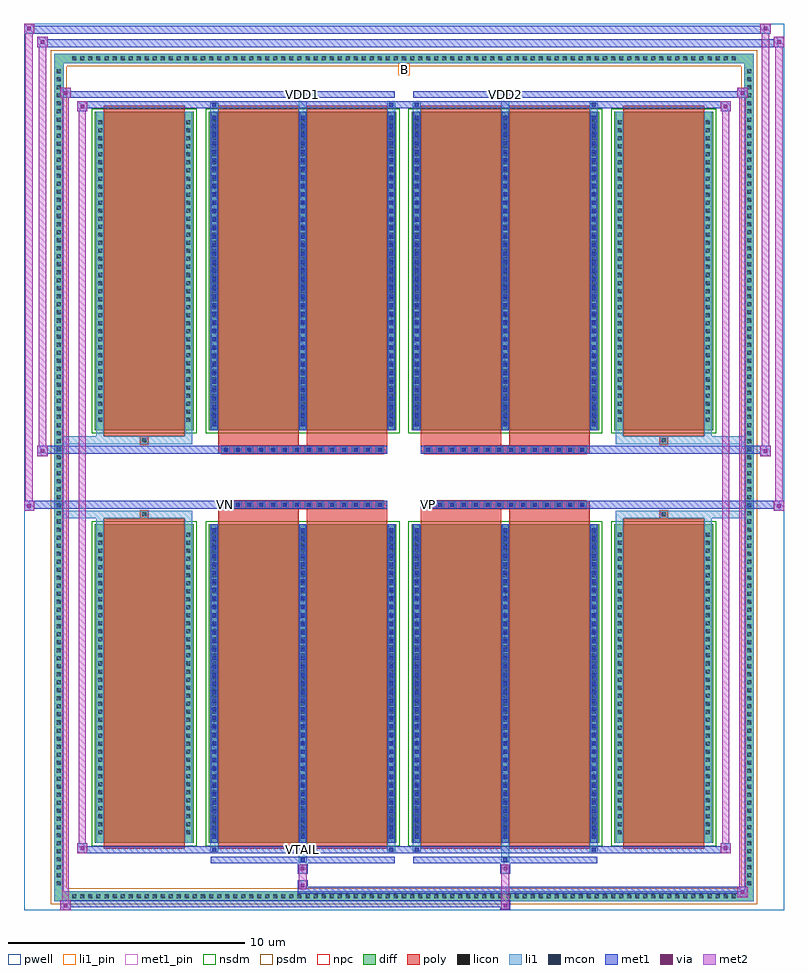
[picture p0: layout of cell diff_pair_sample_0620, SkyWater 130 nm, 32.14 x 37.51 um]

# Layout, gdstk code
import gdstk
lib = gdstk.Library(unit=1e-6, precision=5e-09)
def R(c, l, rs):  # rectangles x0, y0, x1, y1
    for r in rs: c.add(gdstk.rectangle(r[:2], r[2:], *l))
def A(c, l, x, y, w, h, nx, ny, dx, dy):  # array of equal rectangles
    R(c, l, [(x+i*dx, y+j*dy, x+i*dx+w, y+j*dy+h) for i in range(nx) for j in range(ny)])
def P(c, l, *ps):  # polygons
    for p in ps: c.add(gdstk.Polygon(p, *l))
pwell = (64, 44)
diff = (65, 20)
poly = (66, 20)
licon = (66, 44)
li1_pin = (67, 16)
li1 = (67, 20)
mcon = (67, 44)
met1_pin = (68, 16)
met1 = (68, 20)
via = (68, 44)
met2 = (69, 20)
nsdm = (93, 44)
psdm = (94, 20)
npc = (95, 20)

diff_pair_sample_0620 = lib.new_cell('diff_pair_sample_0620')
R(diff_pair_sample_0620, pwell, [(-16.07,-18.32,16.07,19.19), (-13.39,-16.51,-0.01,-0.795), (0.01,-16.51,13.39,-0.795), (-13.39,0.795,-0.01,16.51), (0.01,0.795,13.39,16.51)])
A(diff_pair_sample_0620, diff, -14.145, -17.92, 0.41, 0.41, 83, 2, 0.34, 35.43)
A(diff_pair_sample_0620, diff, -14.8, -17.375, 0.41, 0.41, 1, 102, 0, 0.34)
A(diff_pair_sample_0620, diff, 14.39, -17.375, 0.41, 0.41, 1, 102, 0, 0.34)
R(diff_pair_sample_0620, diff, [(-14.145,-17.92,14.145,-17.51), (-14.8,-17.375,-14.39,17.375), (14.39,-17.375,14.8,17.375), (-13.08,-15.465,-8.89,-1.985), (-8.25,-15.465,-0.32,-1.985), (0.32,-15.465,8.25,-1.985), (8.89,-15.465,13.08,-1.985), (-13.08,1.985,-8.89,15.465), (-8.25,1.985,-0.32,15.465), (0.32,1.985,8.25,15.465), (8.89,1.985,13.08,15.465), (-14.145,17.51,14.145,17.92)])
P(diff_pair_sample_0620, diff, [(14.8,17.92),(-14.8,17.92),(-14.8,-17.51),(-14.39,-17.51),(-14.39,17.51),(14.39,17.51),(14.39,-17.51),(-14.39,-17.51),(-14.8,-17.51),(-14.8,-17.92),(14.8,-17.92)])
A(diff_pair_sample_0620, poly, -7.7, -1.325, 0.33, 0.33, 14, 2, 0.5, 2.32)
A(diff_pair_sample_0620, poly, 0.87, -1.325, 0.33, 0.33, 14, 2, 0.5, 2.32)
R(diff_pair_sample_0620, poly, [(-12.69,-15.715,-9.28,-1.735), (-7.86,-15.715,-4.45,-1.735), (-4.12,-15.715,-0.71,-1.735), (0.71,-15.715,4.12,-1.735), (4.45,-15.715,7.86,-1.735), (9.28,-15.715,12.69,-1.735), (-11.15,-1.735,-10.82,-1.405), (-11.15,-1.735,-10.82,-1.405), (-7.86,-1.735,-4.45,-1.325), (-4.12,-1.735,-0.71,-1.325), (0.71,-1.735,4.12,-1.325), (4.45,-1.735,7.86,-1.325), (10.82,-1.735,11.15,-1.405), (10.82,-1.735,11.15,-1.405), (-7.86,-1.325,-0.71,-0.995), (0.71,-1.325,7.86,-0.995), (-7.86,0.995,-0.71,1.325), (0.71,0.995,7.86,1.325), (-7.86,1.325,-4.45,1.735), (-4.12,1.325,-0.71,1.735), (0.71,1.325,4.12,1.735), (4.45,1.325,7.86,1.735), (-11.15,1.405,-10.82,1.735), (-11.15,1.405,-10.82,1.735), (10.82,1.405,11.15,1.735), (10.82,1.405,11.15,1.735), (-12.69,1.735,-9.28,15.715), (-7.86,1.735,-4.45,15.715), (-4.12,1.735,-0.71,15.715), (0.71,1.735,4.12,15.715), (4.45,1.735,7.86,15.715), (9.28,1.735,12.69,15.715)])
A(diff_pair_sample_0620, licon, -14.025, -17.8, 0.17, 0.17, 83, 2, 0.34, 35.43)
A(diff_pair_sample_0620, licon, -14.68, -17.255, 0.17, 0.17, 1, 102, 0, 0.34)
A(diff_pair_sample_0620, licon, 14.51, -17.255, 0.17, 0.17, 1, 102, 0, 0.34)
A(diff_pair_sample_0620, licon, -12.94, -15.1, 0.17, 0.17, 1, 38, 0, 0.34)
A(diff_pair_sample_0620, licon, -9.2, -15.1, 0.17, 0.17, 1, 38, 0, 0.34)
A(diff_pair_sample_0620, licon, -8.11, -15.1, 0.17, 0.17, 3, 38, 3.74, 0.34)
A(diff_pair_sample_0620, licon, 0.46, -15.1, 0.17, 0.17, 3, 38, 3.74, 0.34)
A(diff_pair_sample_0620, licon, 9.03, -15.1, 0.17, 0.17, 1, 38, 0, 0.34)
A(diff_pair_sample_0620, licon, 12.77, -15.1, 0.17, 0.17, 1, 38, 0, 0.34)
A(diff_pair_sample_0620, licon, -7.62, -1.245, 0.17, 0.17, 14, 2, 0.5, 2.32)
A(diff_pair_sample_0620, licon, 0.95, -1.245, 0.17, 0.17, 14, 2, 0.5, 2.32)
A(diff_pair_sample_0620, licon, -12.94, 2.35, 0.17, 0.17, 1, 38, 0, 0.34)
A(diff_pair_sample_0620, licon, -9.2, 2.35, 0.17, 0.17, 1, 38, 0, 0.34)
A(diff_pair_sample_0620, licon, -8.11, 2.35, 0.17, 0.17, 3, 38, 3.74, 0.34)
A(diff_pair_sample_0620, licon, 0.46, 2.35, 0.17, 0.17, 3, 38, 3.74, 0.34)
A(diff_pair_sample_0620, licon, 9.03, 2.35, 0.17, 0.17, 1, 38, 0, 0.34)
A(diff_pair_sample_0620, licon, 12.77, 2.35, 0.17, 0.17, 1, 38, 0, 0.34)
R(diff_pair_sample_0620, licon, [(-11.07,-1.655,-10.9,-1.485), (10.9,-1.655,11.07,-1.485), (-11.07,1.485,-10.9,1.655), (10.9,1.485,11.07,1.655)])
R(diff_pair_sample_0620, li1_pin, [(-0.25,17.01,0.25,17.51)])
A(diff_pair_sample_0620, li1, -14.105, -17.88, 0.33, 0.33, 83, 2, 0.34, 35.43)
A(diff_pair_sample_0620, li1, -14.76, -17.335, 0.33, 0.33, 1, 102, 0, 0.34)
A(diff_pair_sample_0620, li1, 14.43, -17.335, 0.33, 0.33, 1, 102, 0, 0.34)
A(diff_pair_sample_0620, li1, -8.19, -15.465, 0.33, 13.48, 3, 2, 3.74, 17.45)
A(diff_pair_sample_0620, li1, 0.38, -15.465, 0.33, 13.48, 3, 2, 3.74, 17.45)
A(diff_pair_sample_0620, li1, -8.11, -15.29, 0.17, 0.17, 3, 37, 3.74, 0.36)
A(diff_pair_sample_0620, li1, -8.11, -15.29, 0.17, 13.13, 3, 2, 3.74, 17.45)
A(diff_pair_sample_0620, li1, 0.46, -15.29, 0.17, 0.17, 3, 37, 3.74, 0.36)
A(diff_pair_sample_0620, li1, 0.46, -15.29, 0.17, 13.13, 3, 2, 3.74, 17.45)
A(diff_pair_sample_0620, li1, -13.02, -15.18, 0.33, 0.33, 1, 38, 0, 0.34)
A(diff_pair_sample_0620, li1, -9.28, -15.18, 0.33, 0.33, 1, 38, 0, 0.34)
A(diff_pair_sample_0620, li1, -8.19, -15.18, 0.33, 0.33, 3, 38, 3.74, 0.34)
A(diff_pair_sample_0620, li1, 0.38, -15.18, 0.33, 0.33, 3, 38, 3.74, 0.34)
A(diff_pair_sample_0620, li1, 8.95, -15.18, 0.33, 0.33, 1, 38, 0, 0.34)
A(diff_pair_sample_0620, li1, 12.69, -15.18, 0.33, 0.33, 1, 38, 0, 0.34)
A(diff_pair_sample_0620, li1, -7.7, -1.325, 0.33, 0.33, 14, 2, 0.5, 2.32)
A(diff_pair_sample_0620, li1, 0.87, -1.325, 0.33, 0.33, 14, 2, 0.5, 2.32)
A(diff_pair_sample_0620, li1, -8.11, 2.16, 0.17, 0.17, 3, 37, 3.74, 0.36)
A(diff_pair_sample_0620, li1, 0.46, 2.16, 0.17, 0.17, 3, 37, 3.74, 0.36)
A(diff_pair_sample_0620, li1, -13.02, 2.27, 0.33, 0.33, 1, 38, 0, 0.34)
A(diff_pair_sample_0620, li1, -9.28, 2.27, 0.33, 0.33, 1, 38, 0, 0.34)
A(diff_pair_sample_0620, li1, -8.19, 2.27, 0.33, 0.33, 3, 38, 3.74, 0.34)
A(diff_pair_sample_0620, li1, 0.38, 2.27, 0.33, 0.33, 3, 38, 3.74, 0.34)
A(diff_pair_sample_0620, li1, 8.95, 2.27, 0.33, 0.33, 1, 38, 0, 0.34)
A(diff_pair_sample_0620, li1, 12.69, 2.27, 0.33, 0.33, 1, 38, 0, 0.34)
R(diff_pair_sample_0620, li1, [(-14.8,-17.92,-14.39,-17.51), (-14.8,-17.92,-14.39,-17.51), (-14.39,-17.92,14.39,-17.51), (14.39,-17.92,14.8,-17.51), (14.39,-17.92,14.8,-17.51), (-14.8,-17.51,-14.39,17.51), (14.39,-17.51,14.8,17.51), (-4.45,-16.27,-4.12,-15.465), (-4.37,-16.27,-4.2,-16.1), (4.12,-16.27,4.45,-15.465), (4.2,-16.27,4.37,-16.1), (-8.19,-15.84,-7.86,-15.465), (-8.11,-15.84,-7.94,-15.67), (-0.71,-15.84,-0.38,-15.465), (-0.63,-15.84,-0.46,-15.67), (0.38,-15.84,0.71,-15.465), (0.46,-15.84,0.63,-15.67), (7.86,-15.84,8.19,-15.465), (7.94,-15.84,8.11,-15.67), (-13.02,-15.465,-12.69,-1.985), (-9.28,-15.465,-8.95,-1.985), (8.95,-15.465,9.28,-1.985), (12.69,-15.465,13.02,-1.985), (-13.02,-1.985,-12.69,-1.405), (-9.28,-1.985,-8.95,-1.405), (8.95,-1.985,9.28,-1.405), (12.69,-1.985,13.02,-1.405), (-14.8,-1.735,-11.15,-1.405), (-13.02,-1.735,-11.15,-1.405), (-11.15,-1.735,-10.82,-1.405), (-10.82,-1.735,-8.95,-1.405), (8.95,-1.735,10.82,-1.405), (10.82,-1.735,11.15,-1.405), (10.82,-1.735,14.8,-1.405), (11.15,-1.735,13.02,-1.405), (-14.8,1.405,-11.15,1.735), (-13.02,1.405,-11.15,1.735), (-13.02,1.405,-12.69,1.985), (-11.15,1.405,-10.82,1.735), (-10.82,1.405,-8.95,1.735), (-9.28,1.405,-8.95,1.985), (8.95,1.405,10.82,1.735), (8.95,1.405,9.28,1.985), (10.82,1.405,11.15,1.735), (10.82,1.405,14.8,1.735), (11.15,1.405,13.02,1.735), (12.69,1.405,13.02,1.985), (-13.02,1.985,-12.69,15.465), (-9.28,1.985,-8.95,15.465), (8.95,1.985,9.28,15.465), (12.69,1.985,13.02,15.465), (-8.19,15.465,-7.86,15.84), (-4.45,15.465,-4.12,16.27), (-0.71,15.465,-0.38,15.84), (0.38,15.465,0.71,15.84), (4.12,15.465,4.45,16.27), (7.86,15.465,8.19,15.84), (-8.11,15.67,-7.94,15.84), (-0.63,15.67,-0.46,15.84), (0.46,15.67,0.63,15.84), (7.94,15.67,8.11,15.84), (-4.37,16.1,-4.2,16.27), (4.2,16.1,4.37,16.27), (-14.8,17.51,-14.39,17.92), (-14.8,17.51,-14.39,17.92), (-14.39,17.51,14.39,17.92), (14.39,17.51,14.8,17.92), (14.39,17.51,14.8,17.92)])
A(diff_pair_sample_0620, mcon, -8.11, -15.29, 0.17, 0.17, 3, 37, 3.74, 0.36)
A(diff_pair_sample_0620, mcon, 0.46, -15.29, 0.17, 0.17, 3, 37, 3.74, 0.36)
A(diff_pair_sample_0620, mcon, -7.62, -1.245, 0.17, 0.17, 14, 2, 0.5, 2.32)
A(diff_pair_sample_0620, mcon, 0.95, -1.245, 0.17, 0.17, 14, 2, 0.5, 2.32)
A(diff_pair_sample_0620, mcon, -8.11, 2.16, 0.17, 0.17, 3, 37, 3.74, 0.36)
A(diff_pair_sample_0620, mcon, 0.46, 2.16, 0.17, 0.17, 3, 37, 3.74, 0.36)
R(diff_pair_sample_0620, mcon, [(-4.37,-16.27,-4.2,-16.1), (4.2,-16.27,4.37,-16.1), (-8.11,-15.84,-7.94,-15.67), (-0.63,-15.84,-0.46,-15.67), (0.46,-15.84,0.63,-15.67), (7.94,-15.84,8.11,-15.67), (-8.11,15.67,-7.94,15.84), (-0.63,15.67,-0.46,15.84), (0.46,15.67,0.63,15.84), (7.94,15.67,8.11,15.84), (-4.37,16.1,-4.2,16.27), (4.2,16.1,4.37,16.27)])
R(diff_pair_sample_0620, met1_pin, [(-4.42,-15.88,-4.15,-15.61), (-7.67,-1.285,-7.4,-1.015), (0.9,-1.285,1.17,-1.015), (-4.42,16.06,-4.15,16.33), (4.15,16.06,4.42,16.33)])
A(diff_pair_sample_0620, met1, -8.17, -15.465, 0.29, 13.48, 3, 2, 3.74, 17.45)
A(diff_pair_sample_0620, met1, 0.4, -15.465, 0.29, 13.48, 3, 2, 3.74, 17.45)
A(diff_pair_sample_0620, met1, -8.17, -15.35, 0.29, 0.29, 3, 37, 3.74, 0.36)
A(diff_pair_sample_0620, met1, 0.4, -15.35, 0.29, 0.29, 3, 37, 3.74, 0.36)
A(diff_pair_sample_0620, met1, -7.68, -1.305, 0.29, 0.29, 14, 2, 0.5, 2.32)
A(diff_pair_sample_0620, met1, 0.89, -1.305, 0.29, 0.29, 14, 2, 0.5, 2.32)
A(diff_pair_sample_0620, met1, -8.17, 2.1, 0.29, 0.29, 3, 37, 3.74, 0.36)
A(diff_pair_sample_0620, met1, 0.4, 2.1, 0.29, 0.29, 3, 37, 3.74, 0.36)
R(diff_pair_sample_0620, met1, [(-14.53,-18.32,-14.1,-17.89), (4.07,-18.32,4.5,-17.89), (-14.53,-18.18,4.5,-17.89), (14.1,-17.75,14.53,-17.32), (-4.5,-17.61,14.53,-17.32), (-4.5,-17.47,-4.07,-17.04), (-4.5,-16.76,-4.07,-16.33), (4.07,-16.76,4.5,-16.33), (-8.17,-16.33,-0.4,-16.04), (-4.43,-16.33,-4.14,-16.04), (0.4,-16.33,8.17,-16.04), (4.14,-16.33,4.43,-16.04), (-13.82,-15.9,-13.39,-15.47), (-13.82,-15.9,-8.17,-15.61), (-8.17,-15.9,-7.88,-15.61), (-8.17,-15.9,-0.4,-15.61), (-0.69,-15.9,-0.4,-15.61), (-0.4,-15.9,0.4,-15.61), (0.4,-15.9,0.69,-15.61), (0.4,-15.9,8.17,-15.61), (7.88,-15.9,8.17,-15.61), (8.17,-15.9,13.82,-15.61), (13.39,-15.9,13.82,-15.47), (-16.07,-1.425,-15.64,-0.995), (15.64,-1.425,16.07,-0.995), (-16.07,-1.325,-0.71,-0.995), (-7.86,-1.325,-0.71,-0.995), (0.71,-1.325,7.86,-0.995), (0.71,-1.325,16.07,-0.995), (-15.5,0.895,-15.07,1.325), (15.07,0.895,15.5,1.325), (-15.5,0.995,-7.86,1.325), (-7.86,0.995,-0.71,1.325), (0.71,0.995,7.86,1.325), (7.86,0.995,15.5,1.325), (-13.82,15.47,-13.39,15.9), (13.39,15.47,13.82,15.9), (-13.82,15.61,-8.17,15.9), (-8.17,15.61,-7.88,15.9), (-8.17,15.61,-0.4,15.9), (-0.69,15.61,-0.4,15.9), (-0.4,15.61,0.4,15.9), (0.4,15.61,0.69,15.9), (0.4,15.61,8.17,15.9), (7.88,15.61,8.17,15.9), (8.17,15.61,13.82,15.9), (-14.53,16.04,-14.1,16.47), (-14.53,16.04,-8.17,16.33), (-8.17,16.04,-0.4,16.33), (-4.43,16.04,-4.14,16.33), (0.4,16.04,8.17,16.33), (4.14,16.04,4.43,16.33), (8.17,16.04,14.53,16.33), (14.1,16.04,14.53,16.47), (-15.5,18.19,-15.07,18.62), (-15.5,18.19,-13.39,18.52), (-13.39,18.19,13.39,18.52), (13.39,18.19,16.07,18.52), (15.64,18.19,16.07,18.62), (-16.07,18.76,-15.64,19.19), (-16.07,18.76,-13.39,19.09), (-13.39,18.76,13.39,19.09), (13.39,18.76,15.5,19.09), (15.07,18.76,15.5,19.19)])
R(diff_pair_sample_0620, via, [(-14.39,-18.18,-14.24,-18.03), (4.21,-18.18,4.36,-18.03), (14.24,-17.61,14.39,-17.46), (-4.36,-17.33,-4.21,-17.18), (-4.36,-16.62,-4.21,-16.47), (4.21,-16.62,4.36,-16.47), (-13.68,-15.76,-13.53,-15.61), (13.53,-15.76,13.68,-15.61), (-15.93,-1.285,-15.78,-1.135), (15.78,-1.285,15.93,-1.135), (-15.36,1.035,-15.21,1.185), (15.21,1.035,15.36,1.185), (-13.68,15.61,-13.53,15.76), (13.53,15.61,13.68,15.76), (-14.39,16.18,-14.24,16.33), (14.24,16.18,14.39,16.33), (-15.36,18.33,-15.21,18.48), (15.78,18.33,15.93,18.48), (-15.93,18.9,-15.78,19.05), (15.21,18.9,15.36,19.05)])
R(diff_pair_sample_0620, met2, [(-14.53,-18.32,-14.1,-17.89), (-14.46,-18.32,-14.17,16.47), (-14.17,-18.32,-14.1,-17.89), (-14.48,-18.27,-14.15,-17.94), (4.12,-18.27,4.45,-17.94), (4.12,-17.94,4.45,-16.71), (14.1,-17.75,14.53,-17.32), (14.17,-17.75,14.46,16.47), (14.46,-17.75,14.53,-17.32), (14.15,-17.7,14.48,-17.37), (-4.45,-17.42,-4.12,-17.09), (-4.45,-17.09,-4.12,-16.71), (-4.45,-16.71,-4.12,-16.38), (4.12,-16.71,4.45,-16.38), (-13.82,-15.9,-13.39,-15.47), (-13.75,-15.9,-13.46,15.9), (-13.46,-15.9,-13.39,-15.47), (13.39,-15.9,13.82,-15.47), (13.46,-15.9,13.75,15.9), (13.75,-15.9,13.82,-15.47), (-13.77,-15.85,-13.44,-15.52), (13.44,-15.85,13.77,-15.52), (-16.07,-1.425,-15.64,-0.995), (-16.02,-1.425,-15.69,19.19), (-15.69,-1.425,-15.64,-0.995), (15.64,-1.425,16.07,-0.995), (15.69,-1.425,16.02,18.62), (16.02,-1.425,16.07,-0.995), (-16.02,-1.375,-15.69,-1.045), (15.69,-1.375,16.02,-1.045), (-15.5,0.895,-15.07,1.325), (-15.45,0.895,-15.12,18.62), (-15.12,0.895,-15.07,1.325), (15.07,0.895,15.5,1.325), (15.12,0.895,15.45,19.19), (15.45,0.895,15.5,1.325), (-15.45,0.945,-15.12,1.275), (15.12,0.945,15.45,1.275), (-13.82,15.47,-13.39,15.9), (-13.46,15.47,-13.39,15.9), (13.39,15.47,13.82,15.9), (13.75,15.47,13.82,15.9), (-13.77,15.52,-13.44,15.85), (13.44,15.52,13.77,15.85), (-14.53,16.04,-14.1,16.47), (-14.17,16.04,-14.1,16.47), (14.1,16.04,14.53,16.47), (14.46,16.04,14.53,16.47), (-14.48,16.09,-14.15,16.42), (14.15,16.09,14.48,16.42), (-15.5,18.19,-15.07,18.62), (-15.12,18.19,-15.07,18.62), (15.64,18.19,16.07,18.62), (16.02,18.19,16.07,18.62), (-15.45,18.24,-15.12,18.57), (15.69,18.24,16.02,18.57), (-16.07,18.76,-15.64,19.19), (-15.69,18.76,-15.64,19.19), (15.07,18.76,15.5,19.19), (15.45,18.76,15.5,19.19), (-16.02,18.81,-15.69,19.14), (15.12,18.81,15.45,19.14)])
R(diff_pair_sample_0620, nsdm, [(-13.21,-15.595,-8.76,-1.855), (-8.38,-15.595,-0.19,-1.855), (0.19,-15.595,8.38,-1.855), (8.76,-15.595,13.21,-1.855), (-13.21,1.855,-8.76,15.595), (-8.38,1.855,-0.19,15.595), (0.19,1.855,8.38,15.595), (8.76,1.855,13.21,15.595)])
P(diff_pair_sample_0620, psdm, [(14.93,18.05),(-14.93,18.05),(-14.93,-17.38),(-14.26,-17.38),(-14.26,17.38),(14.26,17.38),(14.26,-17.38),(-14.26,-17.38),(-14.93,-17.38),(-14.93,-18.05),(14.93,-18.05)])
A(diff_pair_sample_0620, npc, -7.72, -1.345, 0.37, 0.37, 14, 2, 0.5, 2.32)
A(diff_pair_sample_0620, npc, 0.85, -1.345, 0.37, 0.37, 14, 2, 0.5, 2.32)
R(diff_pair_sample_0620, npc, [(-11.17,-1.755,-10.8,-1.385), (10.8,-1.755,11.17,-1.385), (-7.72,-1.345,-6.85,-0.975), (-7.72,-1.345,-6.85,-0.975), (-7.22,-1.345,-6.35,-0.975), (-7.22,-1.345,-6.35,-0.975), (-6.72,-1.345,-5.85,-0.975), (-6.72,-1.345,-5.85,-0.975), (-6.22,-1.345,-5.35,-0.975), (-6.22,-1.345,-5.35,-0.975), (-5.72,-1.345,-4.85,-0.975), (-5.72,-1.345,-4.85,-0.975), (-5.22,-1.345,-4.35,-0.975), (-5.22,-1.345,-4.35,-0.975), (-4.72,-1.345,-3.85,-0.975), (-4.72,-1.345,-3.85,-0.975), (-4.22,-1.345,-3.35,-0.975), (-4.22,-1.345,-3.35,-0.975), (-3.72,-1.345,-2.85,-0.975), (-3.72,-1.345,-2.85,-0.975), (-3.22,-1.345,-2.35,-0.975), (-3.22,-1.345,-2.35,-0.975), (-2.72,-1.345,-1.85,-0.975), (-2.72,-1.345,-1.85,-0.975), (-2.22,-1.345,-1.35,-0.975), (-2.22,-1.345,-1.35,-0.975), (-1.72,-1.345,-0.85,-0.975), (-1.72,-1.345,-0.85,-0.975), (0.85,-1.345,1.72,-0.975), (0.85,-1.345,1.72,-0.975), (1.35,-1.345,2.22,-0.975), (1.35,-1.345,2.22,-0.975), (1.85,-1.345,2.72,-0.975), (1.85,-1.345,2.72,-0.975), (2.35,-1.345,3.22,-0.975), (2.35,-1.345,3.22,-0.975), (2.85,-1.345,3.72,-0.975), (2.85,-1.345,3.72,-0.975), (3.35,-1.345,4.22,-0.975), (3.35,-1.345,4.22,-0.975), (3.85,-1.345,4.72,-0.975), (3.85,-1.345,4.72,-0.975), (4.35,-1.345,5.22,-0.975), (4.35,-1.345,5.22,-0.975), (4.85,-1.345,5.72,-0.975), (4.85,-1.345,5.72,-0.975), (5.35,-1.345,6.22,-0.975), (5.35,-1.345,6.22,-0.975), (5.85,-1.345,6.72,-0.975), (5.85,-1.345,6.72,-0.975), (6.35,-1.345,7.22,-0.975), (6.35,-1.345,7.22,-0.975), (6.85,-1.345,7.72,-0.975), (6.85,-1.345,7.72,-0.975), (-7.72,0.975,-6.85,1.345), (-7.72,0.975,-6.85,1.345), (-7.22,0.975,-6.35,1.345), (-7.22,0.975,-6.35,1.345), (-6.72,0.975,-5.85,1.345), (-6.72,0.975,-5.85,1.345), (-6.22,0.975,-5.35,1.345), (-6.22,0.975,-5.35,1.345), (-5.72,0.975,-4.85,1.345), (-5.72,0.975,-4.85,1.345), (-5.22,0.975,-4.35,1.345), (-5.22,0.975,-4.35,1.345), (-4.72,0.975,-3.85,1.345), (-4.72,0.975,-3.85,1.345), (-4.22,0.975,-3.35,1.345), (-4.22,0.975,-3.35,1.345), (-3.72,0.975,-2.85,1.345), (-3.72,0.975,-2.85,1.345), (-3.22,0.975,-2.35,1.345), (-3.22,0.975,-2.35,1.345), (-2.72,0.975,-1.85,1.345), (-2.72,0.975,-1.85,1.345), (-2.22,0.975,-1.35,1.345), (-2.22,0.975,-1.35,1.345), (-1.72,0.975,-0.85,1.345), (-1.72,0.975,-0.85,1.345), (0.85,0.975,1.72,1.345), (0.85,0.975,1.72,1.345), (1.35,0.975,2.22,1.345), (1.35,0.975,2.22,1.345), (1.85,0.975,2.72,1.345), (1.85,0.975,2.72,1.345), (2.35,0.975,3.22,1.345), (2.35,0.975,3.22,1.345), (2.85,0.975,3.72,1.345), (2.85,0.975,3.72,1.345), (3.35,0.975,4.22,1.345), (3.35,0.975,4.22,1.345), (3.85,0.975,4.72,1.345), (3.85,0.975,4.72,1.345), (4.35,0.975,5.22,1.345), (4.35,0.975,5.22,1.345), (4.85,0.975,5.72,1.345), (4.85,0.975,5.72,1.345), (5.35,0.975,6.22,1.345), (5.35,0.975,6.22,1.345), (5.85,0.975,6.72,1.345), (5.85,0.975,6.72,1.345), (6.35,0.975,7.22,1.345), (6.35,0.975,7.22,1.345), (6.85,0.975,7.72,1.345), (6.85,0.975,7.72,1.345), (-11.17,1.385,-10.8,1.755), (10.8,1.385,11.17,1.755)])
diff_pair_sample_0620.add(gdstk.Label('VTAIL', (-4.285,-15.745), layer=68, texttype=5))
diff_pair_sample_0620.add(gdstk.Label('VN', (-7.535,-1.15), layer=68, texttype=5))
diff_pair_sample_0620.add(gdstk.Label('VP', (1.035,-1.15), layer=68, texttype=5))
diff_pair_sample_0620.add(gdstk.Label('B', (0,17.26), layer=67, texttype=5))
diff_pair_sample_0620.add(gdstk.Label('VDD2', (4.285,16.195), layer=68, texttype=5))
diff_pair_sample_0620.add(gdstk.Label('VDD1', (-4.285,16.195), layer=68, texttype=5))

lib.write_gds('diff_pair_sample_0620.gds')
